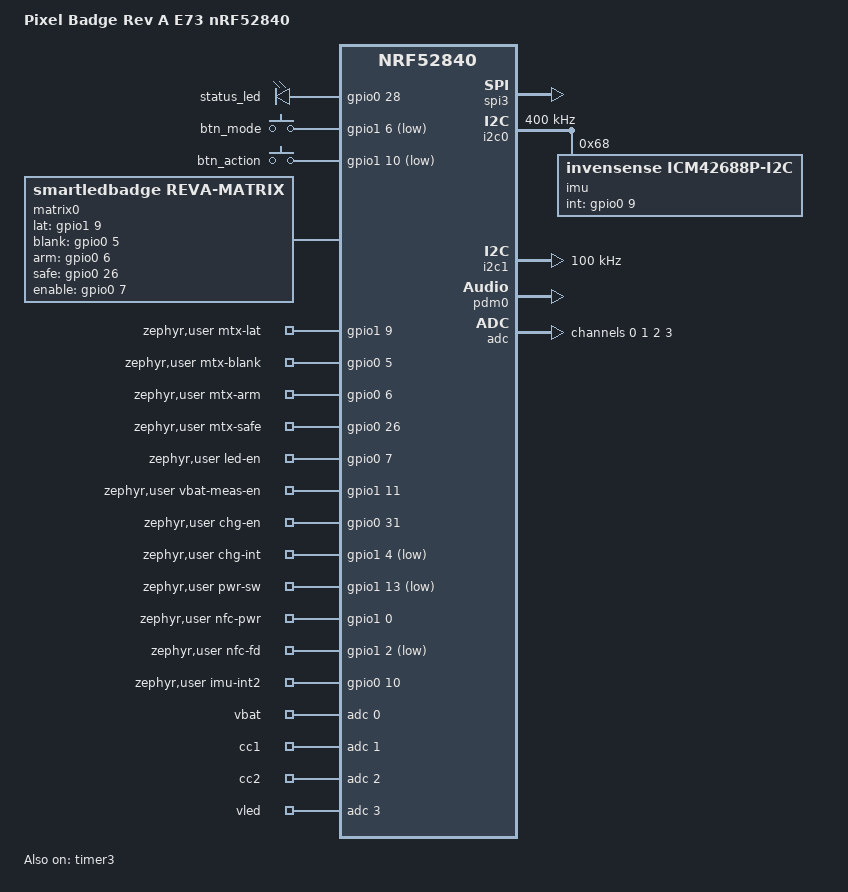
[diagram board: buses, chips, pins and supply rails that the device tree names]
/* SPDX-License-Identifier: MIT */
/dts-v1/;
#include <nordic/nrf52840_qiaa.dtsi>
#include <zephyr/dt-bindings/gpio/nordic-nrf-gpio.h>
#include <zephyr/dt-bindings/input/input-event-codes.h>
#include <zephyr/dt-bindings/adc/adc.h>
#include <zephyr/dt-bindings/sensor/icm42688.h>
#include "pixel_badge_reva_nrf52840-pinctrl.dtsi"

/ {
	model = "Pixel Badge Rev A E73 nRF52840";
	compatible = "smart-led-badge,rev-a-nrf52840";
	chosen {
		zephyr,sram = &sram0;
		zephyr,flash = &flash0;
		zephyr,code-partition = &slot0_partition;
		zephyr,display = &matrix0;
	};
	leds {
		compatible = "gpio-leds";
		status_led: status_led { gpios = <&gpio0 28 GPIO_ACTIVE_HIGH>; };
	};
	buttons {
		compatible = "gpio-keys";
		btn_mode: mode { gpios = <&gpio1 6 (GPIO_ACTIVE_LOW | GPIO_PULL_UP)>; zephyr,code = <INPUT_KEY_0>; };
		btn_action: action { gpios = <&gpio1 10 (GPIO_ACTIVE_LOW | GPIO_PULL_UP)>; zephyr,code = <INPUT_KEY_1>; };
	};
	matrix0: matrix {
		compatible = "smartledbadge,reva-matrix";
		width = <32>;
		height = <32>;
		spi = <&spi3>;
		timer = <&timer3>;
		lat-gpios = <&gpio1 9 GPIO_ACTIVE_HIGH>;
		blank-gpios = <&gpio0 5 GPIO_ACTIVE_HIGH>;
		arm-gpios = <&gpio0 6 GPIO_ACTIVE_HIGH>;
		safe-gpios = <&gpio0 26 GPIO_ACTIVE_HIGH>;
		enable-gpios = <&gpio0 7 GPIO_ACTIVE_HIGH>;
	};
	zephyr,user {
		mtx-lat-gpios = <&gpio1 9 GPIO_ACTIVE_HIGH>;
		mtx-blank-gpios = <&gpio0 5 GPIO_ACTIVE_HIGH>;
		mtx-arm-gpios = <&gpio0 6 GPIO_ACTIVE_HIGH>;
		mtx-safe-gpios = <&gpio0 26 GPIO_ACTIVE_HIGH>;
		led-en-gpios = <&gpio0 7 GPIO_ACTIVE_HIGH>;
		vbat-meas-en-gpios = <&gpio1 11 GPIO_ACTIVE_HIGH>;
		chg-en-gpios = <&gpio0 31 GPIO_ACTIVE_HIGH>;
		chg-int-gpios = <&gpio1 4 GPIO_ACTIVE_LOW>;
		pwr-sw-gpios = <&gpio1 13 (GPIO_ACTIVE_LOW | GPIO_PULL_UP)>;
		ntag-i2c-bus = <&i2c1>;
		nfc-pwr-gpios = <&gpio1 0 (GPIO_ACTIVE_HIGH | NRF_GPIO_DRIVE_H0H1)>;
		nfc-fd-gpios = <&gpio1 2 GPIO_ACTIVE_LOW>;
		imu-int2-gpios = <&gpio0 10 GPIO_ACTIVE_HIGH>;
		io-channels = <&adc 0>, <&adc 1>, <&adc 2>, <&adc 3>;
		io-channel-names = "vbat", "cc1", "cc2", "vled";
	};
	aliases { led0 = &status_led; sw0 = &btn_mode; sw1 = &btn_action; watchdog0 = &wdt0; imu0 = &imu; };
};
/* VDDH=VDD, normal-voltage supply; external LF load capacitors on the PCB. */
&reg0 { status = "disabled"; };
/* REG1 retains its default LDO mode during initial bring-up. */
&uicr { gpio-as-nreset; nfct-pins-as-gpios; };
&gpiote { status = "okay"; };
&gpio0 { status = "okay"; };
&gpio1 { status = "okay"; };
&timer3 { status = "okay"; };
&spi3 {
	compatible = "nordic,nrf-spim";
	status = "okay";
	pinctrl-0 = <&spi3_default>; pinctrl-1 = <&spi3_sleep>; pinctrl-names = "default", "sleep";
};
&i2c0 {
	compatible = "nordic,nrf-twim";
	status = "okay"; clock-frequency = <I2C_BITRATE_FAST>;
	pinctrl-0 = <&i2c0_default>; pinctrl-1 = <&i2c0_sleep>; pinctrl-names = "default", "sleep";
	imu: icm42688@68 {
		compatible = "invensense,icm42688p-i2c"; reg = <0x68>;
		int-gpios = <&gpio0 9 GPIO_ACTIVE_HIGH>;
		accel-pwr-mode = <ICM42688_DT_ACCEL_LN>; accel-odr = <ICM42688_DT_ACCEL_ODR_100>; accel-fs = <ICM42688_DT_ACCEL_FS_2>;
		gyro-pwr-mode = <ICM42688_DT_GYRO_LN>; gyro-odr = <ICM42688_DT_GYRO_ODR_100>; gyro-fs = <ICM42688_DT_GYRO_FS_2000>;
	};
	/* BQ25620 at0x6B shares this bus. Charger policy is a later port increment. */
};
&i2c1 {
	compatible = "nordic,nrf-twim";
	status = "okay"; clock-frequency = <I2C_BITRATE_STANDARD>;
	pinctrl-0 = <&i2c1_default>; pinctrl-1 = <&i2c1_sleep>; pinctrl-names = "default", "sleep";
};
&pdm0 { status = "okay"; pinctrl-0 = <&pdm0_default>; pinctrl-1 = <&pdm0_sleep>; pinctrl-names = "default", "sleep"; };
&adc {
	status = "okay"; #address-cells = <1>; #size-cells = <0>;
	channel@0 { reg = <0>; zephyr,gain = "ADC_GAIN_1_4"; zephyr,reference = "ADC_REF_INTERNAL"; zephyr,acquisition-time = <ADC_ACQ_TIME(ADC_ACQ_TIME_MICROSECONDS, 10)>; zephyr,input-positive = <NRF_SAADC_AIN6>; zephyr,resolution = <12>; };
	channel@1 { reg = <1>; zephyr,gain = "ADC_GAIN_2"; zephyr,reference = "ADC_REF_INTERNAL"; zephyr,acquisition-time = <ADC_ACQ_TIME(ADC_ACQ_TIME_MICROSECONDS, 10)>; zephyr,input-positive = <NRF_SAADC_AIN0>; zephyr,resolution = <12>; };
	channel@2 { reg = <2>; zephyr,gain = "ADC_GAIN_2"; zephyr,reference = "ADC_REF_INTERNAL"; zephyr,acquisition-time = <ADC_ACQ_TIME(ADC_ACQ_TIME_MICROSECONDS, 10)>; zephyr,input-positive = <NRF_SAADC_AIN1>; zephyr,resolution = <12>; };
	channel@3 { reg = <3>; zephyr,gain = "ADC_GAIN_4"; zephyr,reference = "ADC_REF_INTERNAL"; zephyr,acquisition-time = <ADC_ACQ_TIME(ADC_ACQ_TIME_MICROSECONDS, 10)>; zephyr,input-positive = <NRF_SAADC_AIN5>; zephyr,resolution = <12>; };
};
&flash0 {
	partitions {
		compatible = "fixed-partitions"; #address-cells = <1>; #size-cells = <1>;
		boot_partition: partition@0 { label = "mcuboot"; reg = <0x0 0x10000>; };
		slot0_partition: partition@10000 { label = "image-0"; reg = <0x10000 0x50000>; };
		slot1_partition: partition@60000 { label = "image-1"; reg = <0x60000 0x50000>; };
		artwork_storage: partition@b0000 { label = "artwork-storage"; reg = <0xb0000 0x42000>; };
		reserved_partition: partition@f2000 { label = "reserved"; reg = <0xf2000 0x6000>; };
		storage_partition: partition@f8000 { label = "storage"; reg = <0xf8000 0x8000>; };
	};
};
